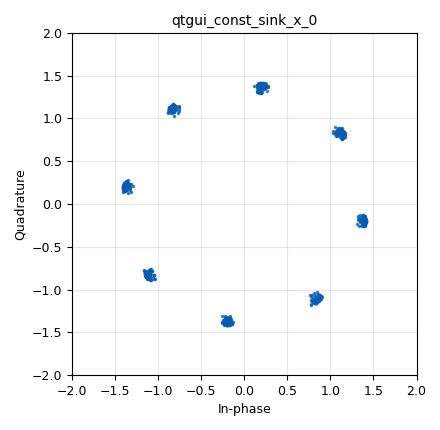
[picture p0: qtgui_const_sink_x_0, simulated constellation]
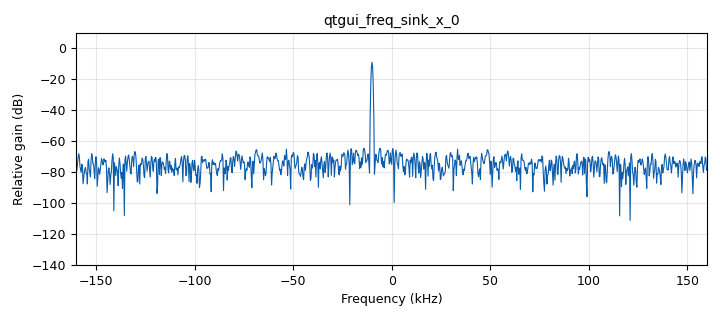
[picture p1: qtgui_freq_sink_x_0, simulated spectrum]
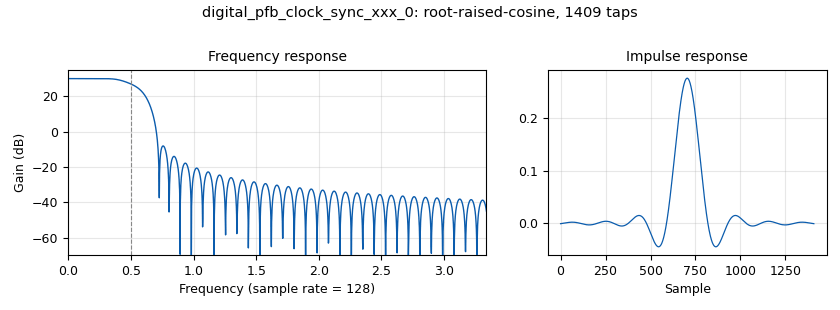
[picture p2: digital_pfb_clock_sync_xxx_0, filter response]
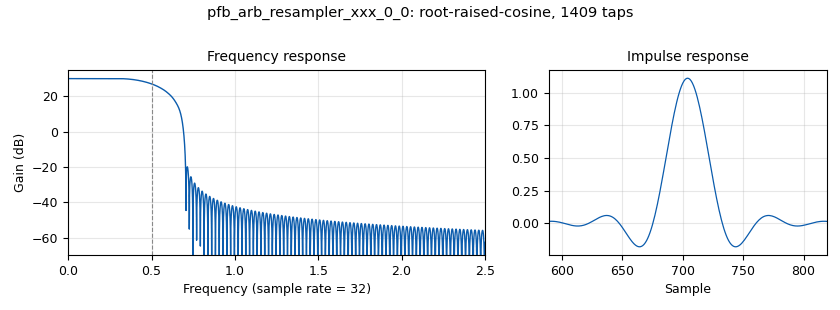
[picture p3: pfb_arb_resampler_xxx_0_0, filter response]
<?xml version='1.0' encoding='utf-8'?>
<?grc format='1' created='3.7.9'?>
<flow_graph>
<block>
<key>options</key>
<param><key>id</key><value>top_block</value></param>
<param><key>category</key><value>Custom</value></param>
<param><key>generate_options</key><value>qt_gui</value></param>
</block>
<block>
<key>variable</key>
<param><key>id</key><value>const_points</value></param>
<param><key>value</key><value>8</value></param>
</block>
<block>
<key>variable</key>
<param><key>id</key><value>excess_bw</value></param>
<param><key>value</key><value>0.4</value></param>
</block>
<block>
<key>variable</key>
<param><key>id</key><value>fll_ntaps</value></param>
<param><key>value</key><value>55</value></param>
</block>
<block>
<key>variable</key>
<param><key>id</key><value>freq_bw</value></param>
<param><key>value</key><value>2*pi/100</value></param>
</block>
<block>
<key>variable</key>
<param><key>id</key><value>nfilts</value></param>
<param><key>value</key><value>32</value></param>
</block>
<block>
<key>variable</key>
<param><key>id</key><value>ntaps</value></param>
<param><key>value</key><value>11*nfilts*sps</value></param>
</block>
<block>
<key>variable</key>
<param><key>id</key><value>rx_taps</value></param>
<param><key>value</key><value>filter.firdes.root_raised_cosine(nfilts,nfilts*sps,1.0,excess_bw,ntaps)</value></param>
</block>
<block>
<key>variable</key>
<param><key>id</key><value>samp_rate</value></param>
<param><key>value</key><value>320000</value></param>
</block>
<block>
<key>variable</key>
<param><key>id</key><value>sps</value></param>
<param><key>value</key><value>4</value></param>
</block>
<block>
<key>variable</key>
<param><key>id</key><value>timing_bw</value></param>
<param><key>value</key><value>2*pi/100</value></param>
</block>
<block>
<key>variable</key>
<param><key>id</key><value>tx_taps</value></param>
<param><key>value</key><value>firdes.root_raised_cosine(nfilts,nfilts,1.0,excess_bw,ntaps)</value></param>
</block>
<block>
<key>blocks_vco_c</key>
<param><key>id</key><value>VCO</value></param>
<param><key>amplitude</key><value>1</value></param>
<param><key>samp_rate</key><value>80000*4</value></param>
<param><key>sensitivity</key><value>-80000*4</value></param>
</block>
<block>
<key>analog_random_source_x</key>
<param><key>id</key><value>analog_random_source_x_0_0</value></param>
<param><key>max</key><value>const_points</value></param>
<param><key>min</key><value>0</value></param>
<param><key>num_samps</key><value>1000</value></param>
<param><key>type</key><value>byte</value></param>
<param><key>repeat</key><value>True</value></param>
</block>
<block>
<key>analog_sig_source_x</key>
<param><key>id</key><value>analog_sig_source_x_0_0</value></param>
<param><key>amp</key><value>1</value></param>
<param><key>freq</key><value>10000</value></param>
<param><key>offset</key><value>0</value></param>
<param><key>type</key><value>complex</value></param>
<param><key>samp_rate</key><value>samp_rate*4</value></param>
<param><key>waveform</key><value>analog.GR_COS_WAVE</value></param>
</block>
<block>
<key>blocks_add_const_vxx</key>
<param><key>id</key><value>blocks_add_const_vxx_0</value></param>
<param><key>const</key><value>-0.5</value></param>
<param><key>_enabled</key><value>0</value></param>
<param><key>type</key><value>float</value></param>
</block>
<block>
<key>blocks_add_const_vxx</key>
<param><key>id</key><value>blocks_add_const_vxx_0_0</value></param>
<param><key>const</key><value>-0.5</value></param>
<param><key>_enabled</key><value>0</value></param>
<param><key>type</key><value>float</value></param>
</block>
<block>
<key>blocks_complex_to_arg</key>
<param><key>id</key><value>blocks_complex_to_arg_0</value></param>
</block>
<block>
<key>blocks_complex_to_float</key>
<param><key>id</key><value>blocks_complex_to_float_0</value></param>
<param><key>_enabled</key><value>0</value></param>
</block>
<block>
<key>blocks_delay</key>
<param><key>id</key><value>blocks_delay_0</value></param>
<param><key>delay</key><value>1</value></param>
<param><key>type</key><value>complex</value></param>
</block>
<block>
<key>blocks_multiply_conjugate_cc</key>
<param><key>id</key><value>blocks_multiply_conjugate_cc_0</value></param>
</block>
<block>
<key>blocks_multiply_const_vxx</key>
<param><key>id</key><value>blocks_multiply_const_vxx_0</value></param>
<param><key>const</key><value>0.125</value></param>
<param><key>type</key><value>float</value></param>
</block>
<block>
<key>blocks_multiply_xx</key>
<param><key>id</key><value>blocks_multiply_xx_0</value></param>
<param><key>type</key><value>complex</value></param>
<param><key>num_inputs</key><value>8</value></param>
</block>
<block>
<key>blocks_multiply_xx</key>
<param><key>id</key><value>blocks_multiply_xx_0_0</value></param>
<param><key>type</key><value>complex</value></param>
</block>
<block>
<key>blocks_multiply_xx</key>
<param><key>id</key><value>blocks_multiply_xx_0_1</value></param>
<param><key>_enabled</key><value>0</value></param>
<param><key>type</key><value>float</value></param>
</block>
<block>
<key>blocks_multiply_xx</key>
<param><key>id</key><value>blocks_multiply_xx_0_2</value></param>
<param><key>_enabled</key><value>0</value></param>
<param><key>type</key><value>float</value></param>
</block>
<block>
<key>blocks_multiply_xx</key>
<param><key>id</key><value>blocks_multiply_xx_1</value></param>
<param><key>type</key><value>complex</value></param>
</block>
<block>
<key>blocks_sub_xx</key>
<param><key>id</key><value>blocks_sub_xx_0</value></param>
<param><key>_enabled</key><value>0</value></param>
<param><key>type</key><value>float</value></param>
</block>
<block>
<key>blocks_threshold_ff</key>
<param><key>id</key><value>blocks_threshold_ff_0</value></param>
<param><key>_enabled</key><value>0</value></param>
<param><key>high</key><value>0.001</value></param>
<param><key>init</key><value>0</value></param>
<param><key>low</key><value>-0.001</value></param>
</block>
<block>
<key>blocks_threshold_ff</key>
<param><key>id</key><value>blocks_threshold_ff_0_0</value></param>
<param><key>_enabled</key><value>0</value></param>
<param><key>high</key><value>0.001</value></param>
<param><key>init</key><value>0</value></param>
<param><key>low</key><value>-0.001</value></param>
</block>
<block>
<key>blocks_throttle</key>
<param><key>id</key><value>blocks_throttle_0</value></param>
<param><key>samples_per_second</key><value>samp_rate</value></param>
<param><key>type</key><value>complex</value></param>
</block>
<block>
<key>blocks_throttle</key>
<param><key>id</key><value>blocks_throttle_0_0</value></param>
<param><key>samples_per_second</key><value>samp_rate</value></param>
<param><key>type</key><value>complex</value></param>
</block>
<block>
<key>blocks_throttle</key>
<param><key>id</key><value>blocks_throttle_0_1</value></param>
<param><key>_enabled</key><value>0</value></param>
<param><key>samples_per_second</key><value>samp_rate</value></param>
<param><key>type</key><value>complex</value></param>
</block>
<block>
<key>import</key>
<param><key>id</key><value>digital</value></param>
<param><key>import</key><value>from gnuradio import digital</value></param>
</block>
<block>
<key>digital_chunks_to_symbols_xx</key>
<param><key>id</key><value>digital_chunks_to_symbols_xx_0_0</value></param>
<param><key>dimension</key><value>1</value></param>
<param><key>in_type</key><value>byte</value></param>
<param><key>out_type</key><value>complex</value></param>
<param><key>symbol_table</key><value>((1.414),(1+1j),(1.414j),(-1+1j),(-1.414),(-1-1j),(-1.414j),(1-1j))</value></param>
</block>
<block>
<key>digital_pfb_clock_sync_xxx</key>
<param><key>id</key><value>digital_pfb_clock_sync_xxx_0</value></param>
<param><key>filter_size</key><value>32</value></param>
<param><key>init_phase</key><value>16</value></param>
<param><key>loop_bw</key><value>timing_bw</value></param>
<param><key>max_dev</key><value>1.5</value></param>
<param><key>osps</key><value>1</value></param>
<param><key>sps</key><value>sps</value></param>
<param><key>taps</key><value>rx_taps</value></param>
<param><key>type</key><value>ccf</value></param>
</block>
<block>
<key>import</key>
<param><key>id</key><value>filt</value></param>
<param><key>import</key><value>from gnuradio import filter</value></param>
</block>
<block>
<key>iir_filter_xxx</key>
<param><key>id</key><value>iir_filter_xxx_0</value></param>
<param><key>_enabled</key><value>0</value></param>
<param><key>fftaps</key><value>0.01</value></param>
<param><key>fbtaps</key><value>[-1,0.99]</value></param>
<param><key>type</key><value>ffd</value></param>
</block>
<block>
<key>pfb_arb_resampler_xxx</key>
<param><key>id</key><value>pfb_arb_resampler_xxx_0_0</value></param>
<param><key>nfilts</key><value>32</value></param>
<param><key>rrate</key><value>sps</value></param>
<param><key>atten</key><value>100</value></param>
<param><key>taps</key><value>tx_taps</value></param>
<param><key>type</key><value>ccf</value></param>
</block>
<block>
<key>import</key>
<param><key>id</key><value>pi</value></param>
<param><key>import</key><value>from math import pi</value></param>
</block>
<block>
<key>qtgui_const_sink_x</key>
<param><key>id</key><value>qtgui_const_sink_x_0</value></param>
<param><key>size</key><value>1024</value></param>
<param><key>type</key><value>complex</value></param>
</block>
<block>
<key>qtgui_const_sink_x</key>
<param><key>id</key><value>qtgui_const_sink_x_1</value></param>
<param><key>_enabled</key><value>0</value></param>
<param><key>size</key><value>1024</value></param>
<param><key>type</key><value>complex</value></param>
</block>
<block>
<key>qtgui_freq_sink_x</key>
<param><key>id</key><value>qtgui_freq_sink_x_0</value></param>
<param><key>bw</key><value>320000</value></param>
<param><key>fc</key><value>0</value></param>
<param><key>fftsize</key><value>1024</value></param>
<param><key>showports</key><value>True</value></param>
<param><key>type</key><value>complex</value></param>
<param><key>wintype</key><value>firdes.WIN_BLACKMAN_hARRIS</value></param>
</block>
<connection><source_block_id>VCO</source_block_id><sink_block_id>blocks_multiply_xx_1</sink_block_id><source_key>0</source_key><sink_key>1</sink_key></connection>
<connection><source_block_id>VCO</source_block_id><sink_block_id>blocks_throttle_0_0</sink_block_id><source_key>0</source_key><sink_key>0</sink_key></connection>
<connection><source_block_id>analog_random_source_x_0_0</source_block_id><sink_block_id>digital_chunks_to_symbols_xx_0_0</sink_block_id><source_key>0</source_key><sink_key>0</sink_key></connection>
<connection><source_block_id>analog_sig_source_x_0_0</source_block_id><sink_block_id>blocks_multiply_xx_0_0</sink_block_id><source_key>0</source_key><sink_key>1</sink_key></connection>
<connection><source_block_id>blocks_add_const_vxx_0</source_block_id><sink_block_id>blocks_multiply_xx_0_1</sink_block_id><source_key>0</source_key><sink_key>0</sink_key></connection>
<connection><source_block_id>blocks_add_const_vxx_0_0</source_block_id><sink_block_id>blocks_multiply_xx_0_2</sink_block_id><source_key>0</source_key><sink_key>1</sink_key></connection>
<connection><source_block_id>blocks_complex_to_arg_0</source_block_id><sink_block_id>blocks_multiply_const_vxx_0</sink_block_id><source_key>0</source_key><sink_key>0</sink_key></connection>
<connection><source_block_id>blocks_complex_to_float_0</source_block_id><sink_block_id>blocks_multiply_xx_0_2</sink_block_id><source_key>1</source_key><sink_key>0</sink_key></connection>
<connection><source_block_id>blocks_complex_to_float_0</source_block_id><sink_block_id>blocks_threshold_ff_0_0</sink_block_id><source_key>1</source_key><sink_key>0</sink_key></connection>
<connection><source_block_id>blocks_complex_to_float_0</source_block_id><sink_block_id>blocks_multiply_xx_0_1</sink_block_id><source_key>0</source_key><sink_key>1</sink_key></connection>
<connection><source_block_id>blocks_complex_to_float_0</source_block_id><sink_block_id>blocks_threshold_ff_0</sink_block_id><source_key>0</source_key><sink_key>0</sink_key></connection>
<connection><source_block_id>blocks_delay_0</source_block_id><sink_block_id>blocks_multiply_conjugate_cc_0</sink_block_id><source_key>0</source_key><sink_key>1</sink_key></connection>
<connection><source_block_id>blocks_multiply_conjugate_cc_0</source_block_id><sink_block_id>blocks_complex_to_arg_0</sink_block_id><source_key>0</source_key><sink_key>0</sink_key></connection>
<connection><source_block_id>blocks_multiply_const_vxx_0</source_block_id><sink_block_id>VCO</sink_block_id><source_key>0</source_key><sink_key>0</sink_key></connection>
<connection><source_block_id>blocks_multiply_xx_0</source_block_id><sink_block_id>blocks_delay_0</sink_block_id><source_key>0</source_key><sink_key>0</sink_key></connection>
<connection><source_block_id>blocks_multiply_xx_0</source_block_id><sink_block_id>blocks_multiply_conjugate_cc_0</sink_block_id><source_key>0</source_key><sink_key>0</sink_key></connection>
<connection><source_block_id>blocks_multiply_xx_0_0</source_block_id><sink_block_id>digital_pfb_clock_sync_xxx_0</sink_block_id><source_key>0</source_key><sink_key>0</sink_key></connection>
<connection><source_block_id>blocks_multiply_xx_0_1</source_block_id><sink_block_id>blocks_sub_xx_0</sink_block_id><source_key>0</source_key><sink_key>1</sink_key></connection>
<connection><source_block_id>blocks_multiply_xx_0_2</source_block_id><sink_block_id>blocks_sub_xx_0</sink_block_id><source_key>0</source_key><sink_key>0</sink_key></connection>
<connection><source_block_id>blocks_multiply_xx_1</source_block_id><sink_block_id>blocks_throttle_0</sink_block_id><source_key>0</source_key><sink_key>0</sink_key></connection>
<connection><source_block_id>blocks_sub_xx_0</source_block_id><sink_block_id>iir_filter_xxx_0</sink_block_id><source_key>0</source_key><sink_key>0</sink_key></connection>
<connection><source_block_id>blocks_threshold_ff_0</source_block_id><sink_block_id>blocks_add_const_vxx_0_0</sink_block_id><source_key>0</source_key><sink_key>0</sink_key></connection>
<connection><source_block_id>blocks_threshold_ff_0_0</source_block_id><sink_block_id>blocks_add_const_vxx_0</sink_block_id><source_key>0</source_key><sink_key>0</sink_key></connection>
<connection><source_block_id>blocks_throttle_0</source_block_id><sink_block_id>qtgui_const_sink_x_0</sink_block_id><source_key>0</source_key><sink_key>0</sink_key></connection>
<connection><source_block_id>blocks_throttle_0_0</source_block_id><sink_block_id>qtgui_freq_sink_x_0</sink_block_id><source_key>0</source_key><sink_key>0</sink_key></connection>
<connection><source_block_id>blocks_throttle_0_1</source_block_id><sink_block_id>qtgui_const_sink_x_1</sink_block_id><source_key>0</source_key><sink_key>0</sink_key></connection>
<connection><source_block_id>digital_chunks_to_symbols_xx_0_0</source_block_id><sink_block_id>pfb_arb_resampler_xxx_0_0</sink_block_id><source_key>0</source_key><sink_key>0</sink_key></connection>
<connection><source_block_id>digital_pfb_clock_sync_xxx_0</source_block_id><sink_block_id>blocks_multiply_xx_0</sink_block_id><source_key>0</source_key><sink_key>0</sink_key></connection>
<connection><source_block_id>digital_pfb_clock_sync_xxx_0</source_block_id><sink_block_id>blocks_multiply_xx_0</sink_block_id><source_key>0</source_key><sink_key>1</sink_key></connection>
<connection><source_block_id>digital_pfb_clock_sync_xxx_0</source_block_id><sink_block_id>blocks_multiply_xx_0</sink_block_id><source_key>0</source_key><sink_key>2</sink_key></connection>
<connection><source_block_id>digital_pfb_clock_sync_xxx_0</source_block_id><sink_block_id>blocks_multiply_xx_0</sink_block_id><source_key>0</source_key><sink_key>3</sink_key></connection>
<connection><source_block_id>digital_pfb_clock_sync_xxx_0</source_block_id><sink_block_id>blocks_multiply_xx_0</sink_block_id><source_key>0</source_key><sink_key>4</sink_key></connection>
<connection><source_block_id>digital_pfb_clock_sync_xxx_0</source_block_id><sink_block_id>blocks_multiply_xx_0</sink_block_id><source_key>0</source_key><sink_key>5</sink_key></connection>
<connection><source_block_id>digital_pfb_clock_sync_xxx_0</source_block_id><sink_block_id>blocks_multiply_xx_0</sink_block_id><source_key>0</source_key><sink_key>6</sink_key></connection>
<connection><source_block_id>digital_pfb_clock_sync_xxx_0</source_block_id><sink_block_id>blocks_multiply_xx_0</sink_block_id><source_key>0</source_key><sink_key>7</sink_key></connection>
<connection><source_block_id>digital_pfb_clock_sync_xxx_0</source_block_id><sink_block_id>blocks_multiply_xx_1</sink_block_id><source_key>0</source_key><sink_key>0</sink_key></connection>
<connection><source_block_id>digital_pfb_clock_sync_xxx_0</source_block_id><sink_block_id>blocks_throttle_0_1</sink_block_id><source_key>0</source_key><sink_key>0</sink_key></connection>
<connection><source_block_id>pfb_arb_resampler_xxx_0_0</source_block_id><sink_block_id>blocks_multiply_xx_0_0</sink_block_id><source_key>0</source_key><sink_key>0</sink_key></connection>
</flow_graph>
